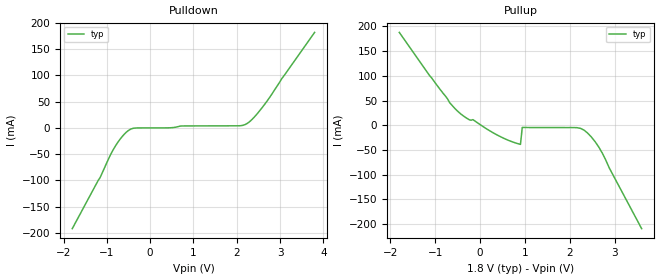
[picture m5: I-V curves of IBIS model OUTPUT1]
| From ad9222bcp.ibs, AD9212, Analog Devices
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[MODEL] OUTPUT1   |lvds MODE
Model_type  Output
|   typ   min   max
C_comp   2.000pF   2.000pF   2.000pF
Rref  =   50Ohm
Vref  =   0.000V
[Voltage Range] 1.800V NA NA
[GND Clamp Reference] 0.000V NA NA
[POWER Clamp Reference] 1.800V NA NA
[PULLDOWN Reference] 0.00V NA  NA
[PULLUP Reference] 1.80V NA NA
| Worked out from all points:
|   slope of the pulldown table from 0 to 0.27 V, typ, clamps not added: 7.77 kohm
|   slope of the pullup table from 0 to 0.27 V, typ, clamps not added: 17.4 ohm
[Pulldown]
| Voltage   I(typ)   I(min)   I(max)
-1.8V     -192mA     NA         NA
-1.16V    -95.22mA   NA         NA
-840mV    -39.72mA   NA         NA
-680mV    -20.05mA   NA         NA
-520mV    -6.173mA   NA         NA
-320mV    -309.7uA   NA         NA
740mV     3.528mA    NA         NA
2.06V     3.916mA    NA         NA
2.2V      6.395mA    NA         NA
2.36V     16.47mA    NA         NA
2.64V     44.07mA    NA         NA
3.8V      181.7mA    NA         NA
[Pullup]
| Voltage   I(typ)   I(min)   I(max)
-1.8V     188mA      NA         NA
-560mV    34.04mA    NA         NA
-320mV    15.71mA    NA         NA
-160mV    11.55mA    NA         NA
380mV     -19.5mA    NA         NA
900mV     -38.51mA   NA         NA
940mV     -4.313mA   NA         NA
2.16V     -4.772mA   NA         NA
2.32V     -9.883mA   NA         NA
2.56V     -32.67mA   NA         NA
2.72V     -55.59mA   NA         NA
3.6V      -209mA     NA         NA
[Ramp]
|   typ   min   max
dV/dt_r   0.290V/0.370ns   NA   NA
dV/dt_f   0.290V/0.440ns   NA   NA
R_load=1k
|---end ouput1 model---------------------------------------------------
